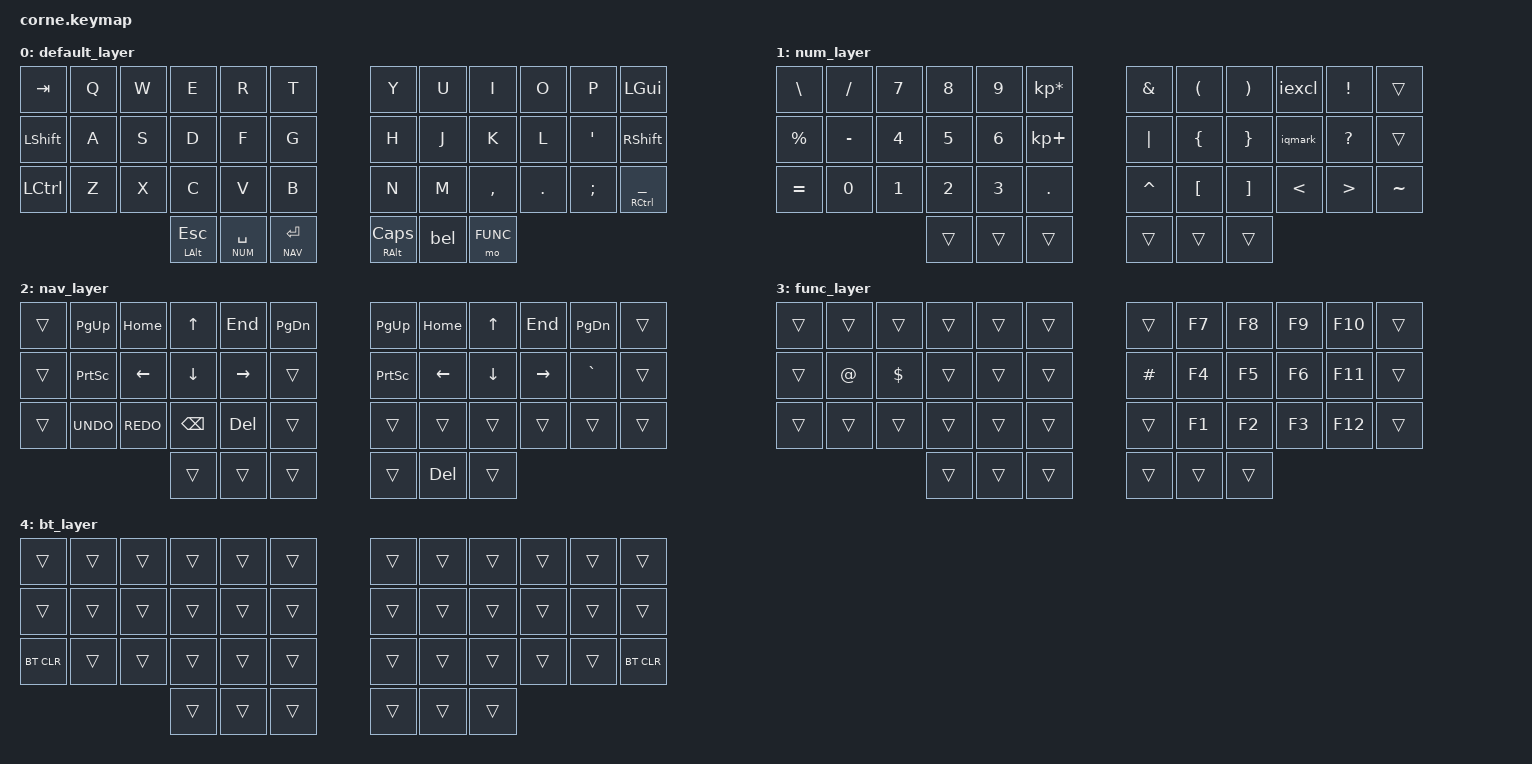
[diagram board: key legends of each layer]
/*
* Copyright (c) 2020 The ZMK Contributors
*
* SPDX-License-Identifier: MIT
*/

#include <behaviors.dtsi>
#include <dt-bindings/zmk/keys.h>
#include <dt-bindings/zmk/bt.h>

#define DEFAULT 0
#define NUM 1
#define NAV 2
#define FUNC 3
/* #define LED 4 */
#define BT 4

&mt {
    flavor = "hold-preferred";
    tapping-term-ms = <150>;
    quick_tap_ms = <150>;
};

&lt {
    flavor = "hold-preferred";
    tapping-term-ms = <350>;
};

/ {
    combos {
        compatible = "zmk,combos";
        combo_led {
            timeout-ms = <50>;
            key-positions = <39 40 41>;
            layers = <DEFAULT>;
            bindings = <&mo BT>;
        };
    };

    macros {
        ZMK_MACRO(iqmark,
        wait-ms = <30>;
        tap-ms = <40>;
        bindings =
        <&macro_press &kp RALT>,
        <&macro_tap &kp FSLH>,
        <&macro_release &kp RALT>;
        )

        ZMK_MACRO(iexcl,
        wait-ms = <30>;
        tap-ms = <40>;
        bindings =
        <&macro_press &kp RALT &kp RSHIFT>,
        <&macro_tap &kp N1>,
        <&macro_release &kp RALT &kp RSHIFT>;
        )
    };

    behaviors {
        bel: backspace_del {
            compatible = "zmk,behavior-mod-morph";
            label = "BACKSPACE_DELETE";
            #binding-cells = <0>;
            bindings = <&kp BACKSPACE>, <&kp DELETE>;
            mods = <(MOD_LSFT|MOD_RSFT)>;
        };
    };

    keymap {
        compatible = "zmk,keymap";

        default_layer {
        // | ^^^^^^^^^^^^^ | ^^^^^^^^^^^^^ | ^^^^^^^^^^^^^ | ^^^^^^^^^^^^^ | ^^^^^^^^^^^^^ | ^^^^^^^^^^^^^ | ----- | ^^^^^^^^^^^^^ | ^^^^^^^^^^^^^ | ^^^^^^^^^^^^^ | ^^^^^^^^^^^^^ | ^^^^^^^^^^^^^ | ^^^^^^^^^^^^^ |
        // | TAB           | Q             | W             | E             | R             | T             | ----- | Y             | U             | I             | O             | P             | LGUI          |
        // | SHFT          | A             | S             | D             | F             | G             | ----- | H             | J             | K             | L             | ;             | RSHFT         |
        // | CTRL          | Z             | X             | C             | V             | B             | ----- | N             | M             | ,             | .             | _             | RCTRL UNDER   |
        // | ALT ESC       | <NUM> SPC     | <NAV> ENT     |               |               |               |       | RALT CAPS     | B/D           | <FN>          |               |               |               |
            bindings = <
            &kp TAB         &kp Q           &kp W           &kp E           &kp R           &kp T                   &kp Y           &kp U           &kp I           &kp O           &kp P           &kp LGUI
            &kp LSHFT       &kp A           &kp S           &kp D           &kp F           &kp G                   &kp H           &kp J           &kp K           &kp L           &kp SQT         &kp RSHFT
            &kp LCTRL       &kp Z           &kp X           &kp C           &kp V           &kp B                   &kp N           &kp M           &kp COMMA       &kp DOT         &kp SEMI        &mt RCTRL UNDER
            &mt LALT ESC    &lt NUM SPACE   &lt NAV RET                                                           &mt RALT CAPS   &bel            &mo FUNC
            >;
        };

        num_layer {
        // | ^^^^^^^^^^^^^ | ^^^^^^^^^^^^^ | ^^^^^^^^^^^^^ | ^^^^^^^^^^^^^ | ^^^^^^^^^^^^^ | ^^^^^^^^^^^^^ | ----- | ^^^^^^^^^^^^^ | ^^^^^^^^^^^^^ | ^^^^^^^^^^^^^ | ^^^^^^^^^^^^^ | ^^^^^^^^^^^^^ | ^^^^^^^^^^^^^ |
        // | BSLH          | FSLH          | N7            | N8            | N9            | *             | ----- | AMPS          | LPAR          | RPAR          | &iexcl        | EXCL          |               |
        // | PRCNT         | MINUS         | N4            | N5            | N6            | +             | ----- | PIPE          | LBRC          | RBRC          | &iqmark       | QMARK         |               |
        // | EQUAL         | N0            | N1            | N2            | N3            | DOT           | ----- | CARET         | LBKT          | RBKT          | LT            | GT            | &kp TILDE     |
        // |               |               |               |               |               |               | ----- |               |               |               |               |               |               |
            bindings = <
            &kp BSLH        &kp FSLH        &kp N7          &kp N8          &kp N9          &kp KP_MULTIPLY         &kp AMPS        &kp LPAR        &kp RPAR        &iexcl          &kp EXCL        &trans
            &kp PRCNT       &kp MINUS       &kp N4          &kp N5          &kp N6          &kp KP_PLUS             &kp PIPE        &kp LBRC        &kp RBRC        &iqmark         &kp QMARK       &trans
            &kp EQUAL       &kp N0          &kp N1          &kp N2          &kp N3          &kp DOT                 &kp CARET       &kp LBKT        &kp RBKT        &kp LT          &kp GT          &kp TILDE
            &trans          &trans          &trans                                                                  &trans          &trans          &trans
            >;
        };

        nav_layer {
        // | ^^^^^^^^^^^^^ | ^^^^^^^^^^^^^ | ^^^^^^^^^^^^^ | ^^^^^^^^^^^^^ | ^^^^^^^^^^^^^ | ^^^^^^^^^^^^^ | ----- | ^^^^^^^^^^^^^ | ^^^^^^^^^^^^^ | ^^^^^^^^^^^^^ | ^^^^^^^^^^^^^ | ^^^^^^^^^^^^^ | ^^^^^^^^^^^^^ |
        // |               | PG_DOWN       | HOME          | ↑             | END           | PG_UP         | ----- | PG_DOWN       | HOME          | ↑             | END           | PG_UP         |               |
        // |               | PRINT SCREEN  | ←             | ↓             | →             |               | ----- | PRINT SCREEN  | ←             | ↓             | →             |               |               |
        // |               | UNDO          | REDO          | BSPC          | DEL           |               | ----- |               |               |               |               |               |               |
        // |               |               |               |               |               |               | ----- |               | DEL           |               |               |               |               |

            bindings = <
            &trans          &kp PAGE_UP     &kp HOME        &kp UP          &kp END         &kp PAGE_DOWN           &kp PAGE_UP     &kp HOME        &kp UP          &kp END         &kp PAGE_DOWN   &trans
            &trans          &kp PSCRN       &kp LEFT        &kp DOWN        &kp RIGHT       &trans                  &kp PSCRN       &kp LEFT        &kp DOWN        &kp RIGHT       &kp GRAVE       &trans
            &trans          &kp K_UNDO      &kp K_REDO      &kp BSPC        &kp DEL         &trans                  &trans          &trans          &trans          &trans          &trans          &trans
            &trans          &trans          &trans                                                                  &trans          &kp DEL         &trans
            >;
        };

        func_layer {
        // | ^^^^^^^^^^^^^ | ^^^^^^^^^^^^^ | ^^^^^^^^^^^^^ | ^^^^^^^^^^^^^ | ^^^^^^^^^^^^^ | ^^^^^^^^^^^^^ | ----- | ^^^^^^^^^^^^^ | ^^^^^^^^^^^^^ | ^^^^^^^^^^^^^ | ^^^^^^^^^^^^^ | ^^^^^^^^^^^^^ | ^^^^^^^^^^^^^ |
        // |               | '             |               |               |               |               |       |               | F10           | F7            | F8            | F9            |               |
        // |               | @             | $             |               |               |               |       | #             | F11           | F4            | F5            | F6            |               |
        // |               |               |               |               |               |               |       |               | F12           | F1            | F2            | F3            |               |
        // |               |               |               |               |               |               |       |               |               |               |               |               |               |
            bindings = <
            &trans          &trans          &trans          &trans          &trans          &trans                  &trans          &kp F7          &kp F8          &kp F9          &kp F10         &trans
            &trans          &kp AT          &kp DLLR        &trans          &trans          &trans                  &kp HASH        &kp F4          &kp F5          &kp F6          &kp F11         &trans
            &trans          &trans          &trans          &trans          &trans          &trans                  &trans          &kp F1          &kp F2          &kp F3          &kp F12         &trans
            &trans          &trans          &trans                                                                  &trans          &trans          &trans
            >;
        };

        bt_layer {
        // | ^^^^^^^^^^^^^ | ^^^^^^^^^^^^^ | ^^^^^^^^^^^^^ | ^^^^^^^^^^^^^ | ^^^^^^^^^^^^^ | ^^^^^^^^^^^^^ | ----- | ^^^^^^^^^^^^^ | ^^^^^^^^^^^^^ | ^^^^^^^^^^^^^ | ^^^^^^^^^^^^^ | ^^^^^^^^^^^^^ | ^^^^^^^^^^^^^ |
        // | ON/OFF        | BRI           | BRD           | SPI           | SPD           |               |       |               |               |               |               |               |               |
        // |               | SAI           | SAD           | EFF           | EFR           |               |       |               |               |               |               |               |               |
        // |               | HUI           | HUD           |               |               |               |       |               |               |               |               |               |               |
        // |               |               |               |               |               |               |       |               |               |               |               |               |               |
            bindings = <
            &trans         &trans          &trans          &trans          &trans          &trans                  &trans          &trans          &trans          &trans          &trans          &trans
            &trans         &trans          &trans          &trans          &trans          &trans                  &trans          &trans          &trans          &trans          &trans          &trans
            &bt BT_CLR     &trans          &trans          &trans          &trans          &trans                  &trans          &trans          &trans          &trans          &trans          &bt BT_CLR
            &trans         &trans          &trans                                                                  &trans          &trans          &trans
            >;
        };

        /* led_layer { */
        /* | ^^^^^^^^^^^^^ | ^^^^^^^^^^^^^ | ^^^^^^^^^^^^^ | ^^^^^^^^^^^^^ | ^^^^^^^^^^^^^ | ^^^^^^^^^^^^^ | ----- | ^^^^^^^^^^^^^ | ^^^^^^^^^^^^^ | ^^^^^^^^^^^^^ | ^^^^^^^^^^^^^ | ^^^^^^^^^^^^^ | ^^^^^^^^^^^^^ | */
        /* | ON/OFF        | BRI           | BRD           | SPI           | SPD           |               |       |               |               |               |               |               |               | */
        /* |               | SAI           | SAD           | EFF           | EFR           |               |       |               |               |               |               |               |               | */
        /* |               | HUI           | HUD           |               |               |               |       |               |               |               |               |               |               | */
        /* |               |               |               |               |               |               |       |               |               |               |               |               |               | */
        /*     bindings = < */
        /*     &rgb_ug RGB_TOG &rgb_ug RGB_BRI &rgb_ug RGB_BRD &rgb_ug RGB_SPI &rgb_ug RGB_SPD &trans                  &trans          &trans          &trans          &trans          &trans          &trans */
        /*     &trans          &rgb_ug RGB_SAI &rgb_ug RGB_SAD &rgb_ug RGB_EFF &rgb_ug RGB_EFR &trans                  &trans          &trans          &trans          &trans          &trans          &trans */
        /*     &bt BT_CLR      &rgb_ug RGB_HUI &rgb_ug RGB_HUD &trans          &trans          &trans                  &trans          &trans          &trans          &trans          &trans          &bt BT_CLR */
        /*     &trans          &trans          &trans                                                                  &trans          &trans          &trans */
        /*     >; */
        /* }; */
    };
};
